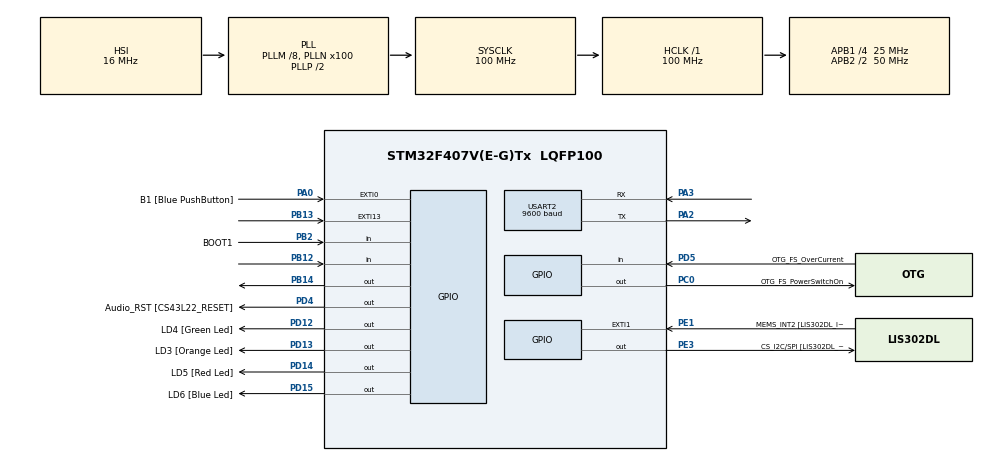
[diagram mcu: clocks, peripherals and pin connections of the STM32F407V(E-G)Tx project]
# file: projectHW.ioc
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Mcu.Family=STM32F4
Mcu.Name=STM32F407V(E-G)Tx
Mcu.Package=LQFP100
NVIC.EXTI15_10_IRQn=true\:0\:0\:false\:false\:true
NVIC.PriorityGroup=NVIC_PRIORITYGROUP_0
NVIC.TIM1_BRK_TIM9_IRQn=true\:0\:0\:false\:false\:true
PA0-WKUP.GPIO_Label=B1 [Blue PushButton]
PA0-WKUP.Signal=GPXTI0
PA10.GPIO_Label=OTG_FS_ID
PA10.GPIO_Mode=GPIO_MODE_AF_PP
PA10.GPIO_PuPd=GPIO_NOPULL
PA10.GPIO_Speed=GPIO_SPEED_FREQ_LOW
PA10.Signal=USB_OTG_FS_ID
PA11.GPIO_Label=OTG_FS_DM
PA11.GPIO_Mode=GPIO_MODE_AF_PP
PA11.GPIO_PuPd=GPIO_NOPULL
PA11.GPIO_Speed=GPIO_SPEED_FREQ_LOW
PA11.Signal=USB_OTG_FS_DM
PA12.GPIO_Label=OTG_FS_DP
PA12.GPIO_Mode=GPIO_MODE_AF_PP
PA12.GPIO_PuPd=GPIO_NOPULL
PA12.GPIO_Speed=GPIO_SPEED_FREQ_LOW
PA12.Signal=USB_OTG_FS_DP
PA13.GPIO_Label=SWDIO
PA13.Signal=SYS_JTMS-SWDIO
PA14.GPIO_Label=SWCLK
PA14.Signal=SYS_JTCK-SWCLK
PA2.Mode=Asynchronous
PA2.Signal=USART2_TX
PA3.Mode=Asynchronous
PA3.Signal=USART2_RX
PA4.GPIO_Label=I2S3_WS [CS43L22_LRCK]
PA4.GPIO_Mode=GPIO_MODE_AF_PP
PA4.GPIO_PuPd=GPIO_NOPULL
PA4.GPIO_Speed=GPIO_SPEED_FREQ_LOW
PA4.Signal=I2S3_WS
PA5.GPIO_Label=SPI1_SCK [LIS302DL_SCL/SPC]
PA5.GPIO_Mode=GPIO_MODE_AF_PP
PA5.GPIO_PuPd=GPIO_NOPULL
PA5.GPIO_Speed=GPIO_SPEED_FREQ_LOW
PA5.Signal=SPI1_SCK
PA6.GPIO_Label=SPI1_MISO [LIS302DL_SDO]
PA6.GPIO_Mode=GPIO_MODE_AF_PP
PA6.GPIO_PuPd=GPIO_NOPULL
PA6.GPIO_Speed=GPIO_SPEED_FREQ_LOW
PA6.Signal=SPI1_MISO
PA7.GPIO_Label=SPI1_MOSI [LIS302DL_SDA/SDI/SDO]
PA7.GPIO_Mode=GPIO_MODE_AF_PP
PA7.GPIO_PuPd=GPIO_NOPULL
PA7.GPIO_Speed=GPIO_SPEED_FREQ_LOW
PA7.Signal=SPI1_MOSI
PA9.GPIO_Label=VBUS_FS
PA9.GPIO_Mode=GPIO_MODE_INPUT
PA9.GPIO_PuPd=GPIO_NOPULL
PA9.Signal=USB_OTG_FS_VBUS
PB10.GPIO_Label=CLK_IN [MP45DT02_CLK]
PB10.GPIO_Mode=GPIO_MODE_AF_PP
PB10.GPIO_PuPd=GPIO_NOPULL
PB10.GPIO_Speed=GPIO_SPEED_FREQ_LOW
PB10.Signal=I2S2_CK
PB12.Signal=GPIO_Input
PB13.Signal=GPXTI13
PB14.Signal=GPIO_Output
PB2.GPIO_Label=BOOT1
PB2.GPIO_Mode=GPIO_MODE_INPUT
PB2.GPIO_PuPd=GPIO_NOPULL
PB2.Signal=GPIO_Input
PB3.GPIO_Label=SWO
PB3.Signal=SYS_JTDO-SWO
PB6.GPIO_Label=Audio_SCL [CS43L22_SCL]
PB6.GPIO_Mode=GPIO_MODE_AF_OD
PB6.GPIO_PuPd=GPIO_NOPULL
PB6.GPIO_Speed=GPIO_SPEED_FREQ_LOW
PB6.Signal=I2C1_SCL
PB9.GPIO_Label=Audio_SDA [CS43L22_SDA]
PB9.GPIO_Mode=GPIO_MODE_AF_OD
PB9.GPIO_PuPd=GPIO_NOPULL
PB9.GPIO_Speed=GPIO_SPEED_FREQ_LOW
PB9.Signal=I2C1_SDA
PC0.GPIO_Label=OTG_FS_PowerSwitchOn
PC0.GPIO_PuPd=GPIO_NOPULL
PC0.GPIO_Speed=GPIO_SPEED_FREQ_LOW
PC0.PinState=GPIO_PIN_SET
PC0.Signal=GPIO_Output
PC10.GPIO_Label=I2S3_SCK [CS43L22_SCLK]
PC10.GPIO_Mode=GPIO_MODE_AF_PP
PC10.GPIO_PuPd=GPIO_NOPULL
PC10.GPIO_Speed=GPIO_SPEED_FREQ_LOW
PC10.Signal=I2S3_CK
PC12.GPIO_Label=I2S3_SD [CS43L22_SDIN]
PC12.GPIO_Mode=GPIO_MODE_AF_PP
PC12.GPIO_PuPd=GPIO_NOPULL
PC12.GPIO_Speed=GPIO_SPEED_FREQ_LOW
PC12.Signal=I2S3_SD
PC14-OSC32_IN.GPIO_Label=PC14-OSC32_IN
PC14-OSC32_IN.Signal=RCC_OSC32_IN
PC15-OSC32_OUT.GPIO_Label=PC15-OSC32_OUT
PC15-OSC32_OUT.Signal=RCC_OSC32_OUT
PC3.GPIO_Label=PDM_OUT [MP45DT02_DOUT]
PC3.GPIO_Mode=GPIO_MODE_AF_PP
PC3.GPIO_PuPd=GPIO_NOPULL
PC3.GPIO_Speed=GPIO_SPEED_FREQ_LOW
PC3.Signal=I2S2_SD
PC7.GPIO_Label=I2S3_MCK [CS43L22_MCLK]
PC7.GPIO_Mode=GPIO_MODE_AF_PP
PC7.GPIO_PuPd=GPIO_NOPULL
PC7.GPIO_Speed=GPIO_SPEED_FREQ_LOW
PC7.Signal=I2S3_MCK
PD12.GPIO_Label=LD4 [Green Led]
PD12.GPIO_PuPd=GPIO_NOPULL
PD12.GPIO_Speed=GPIO_SPEED_FREQ_LOW
PD12.Signal=GPIO_Output
PD13.GPIO_Label=LD3 [Orange Led]
PD13.GPIO_PuPd=GPIO_NOPULL
PD13.GPIO_Speed=GPIO_SPEED_FREQ_LOW
PD13.Signal=GPIO_Output
PD14.GPIO_Label=LD5 [Red Led]
PD14.GPIO_PuPd=GPIO_NOPULL
PD14.GPIO_Speed=GPIO_SPEED_FREQ_LOW
PD14.Signal=GPIO_Output
PD15.GPIO_Label=LD6 [Blue Led]
PD15.GPIO_PuPd=GPIO_NOPULL
PD15.GPIO_Speed=GPIO_SPEED_FREQ_LOW
PD15.Signal=GPIO_Output
PD4.GPIO_Label=Audio_RST [CS43L22_RESET]
PD4.GPIO_PuPd=GPIO_NOPULL
PD4.GPIO_Speed=GPIO_SPEED_FREQ_LOW
PD4.Signal=GPIO_Output
PD5.GPIO_Label=OTG_FS_OverCurrent
PD5.GPIO_Mode=GPIO_MODE_INPUT
PD5.GPIO_PuPd=GPIO_NOPULL
PD5.Signal=GPIO_Input
PE1.GPIO_Label=MEMS_INT2 [LIS302DL_INT2]
PE1.GPIO_ModeDefaultEXTI=GPIO_MODE_EVT_RISING
PE1.GPIO_PuPd=GPIO_NOPULL
PE1.Signal=GPXTI1
PE3.GPIO_Label=CS_I2C/SPI [LIS302DL_CS_I2C/SPI]
PE3.GPIO_PuPd=GPIO_NOPULL
PE3.GPIO_Speed=GPIO_SPEED_FREQ_LOW
PE3.Signal=GPIO_Output
PH0-OSC_IN.GPIO_Label=PH0-OSC_IN
PH0-OSC_IN.Signal=RCC_OSC_IN
PH1-OSC_OUT.GPIO_Label=PH1-OSC_OUT
PH1-OSC_OUT.Signal=RCC_OSC_OUT
ProjectManager.HeapSize=0x200
ProjectManager.StackSize=0x400
ProjectManager.TargetToolchain=SW4STM32
RCC.48MHZClocksFreq_Value=28571428.57142857
RCC.AHBFreq_Value=100000000
RCC.APB1CLKDivider=RCC_HCLK_DIV4
RCC.APB1Freq_Value=25000000
RCC.APB1TimFreq_Value=50000000
RCC.APB2CLKDivider=RCC_HCLK_DIV2
RCC.APB2Freq_Value=50000000
RCC.APB2TimFreq_Value=100000000
RCC.CortexFreq_Value=100000000
RCC.HCLKFreq_Value=100000000
RCC.HSE_VALUE=8000000
RCC.HSI_VALUE=16000000
RCC.LSE_VALUE=32768
RCC.PLLM=8
RCC.PLLN=100
RCC.PLLQ=7
RCC.SYSCLKFreq_VALUE=100000000
RCC.SYSCLKSource=RCC_SYSCLKSOURCE_PLLCLK
RCC.VCOOutputFreq_Value=200000000
TIM9.Period=1
TIM9.Prescaler=0
USART2.BaudRate=9600
USART2.VirtualMode=VM_ASYNC
VP_TIM9_VS_ClockSourceINT.Mode=Internal
board=STM32F4DISCOVERY

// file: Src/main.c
/**
  ******************************************************************************
  * File Name          : main.c
  * Description        : Main program body
  ******************************************************************************
  ** This notice applies to any and all portions of this file
  * that are not between comment pairs USER CODE BEGIN and
  * USER CODE END. Other portions of this file, whether
  * inserted by the user or by software development tools
  * are owned by their respective copyright owners.
  *
  * COPYRIGHT(c) 2560 STMicroelectronics
  *
  * Redistribution and use in source and binary forms, with or without modification,
  * are permitted provided that the following conditions are met:
  *   1. Redistributions of source code must retain the above copyright notice,
  *      this list of conditions and the following disclaimer.
  *   2. Redistributions in binary form must reproduce the above copyright notice,
  *      this list of conditions and the following disclaimer in the documentation
  *      and/or other materials provided with the distribution.
  *   3. Neither the name of STMicroelectronics nor the names of its contributors
  *      may be used to endorse or promote products derived from this software
  *      without specific prior written permission.
  *
  * THIS SOFTWARE IS PROVIDED BY THE COPYRIGHT HOLDERS AND CONTRIBUTORS "AS IS"
  * AND ANY EXPRESS OR IMPLIED WARRANTIES, INCLUDING, BUT NOT LIMITED TO, THE
  * IMPLIED WARRANTIES OF MERCHANTABILITY AND FITNESS FOR A PARTICULAR PURPOSE ARE
  * DISCLAIMED. IN NO EVENT SHALL THE COPYRIGHT HOLDER OR CONTRIBUTORS BE LIABLE
  * FOR ANY DIRECT, INDIRECT, INCIDENTAL, SPECIAL, EXEMPLARY, OR CONSEQUENTIAL
  * DAMAGES (INCLUDING, BUT NOT LIMITED TO, PROCUREMENT OF SUBSTITUTE GOODS OR
  * SERVICES; LOSS OF USE, DATA, OR PROFITS; OR BUSINESS INTERRUPTION) HOWEVER
  * CAUSED AND ON ANY THEORY OF LIABILITY, WHETHER IN CONTRACT, STRICT LIABILITY,
  * OR TORT (INCLUDING NEGLIGENCE OR OTHERWISE) ARISING IN ANY WAY OUT OF THE USE
  * OF THIS SOFTWARE, EVEN IF ADVISED OF THE POSSIBILITY OF SUCH DAMAGE.
  *
  ******************************************************************************
  */
#include "main.h"
#include "stm32f4xx_hal.h"

TIM_HandleTypeDef htim9;

UART_HandleTypeDef huart2;

/* USER CODE BEGIN PV */
/* Private variables ---------------------------------------------------------*/
int isLightON;
/* USER CODE END PV */

void SystemClock_Config(void);
static void MX_GPIO_Init(void);
static void MX_USART2_UART_Init(void);
static void MX_TIM9_Init(void);

/* USER CODE BEGIN PFP */
/* Private function prototypes -----------------------------------------------*/

/* USER CODE END PFP */

/* USER CODE BEGIN 0 */
int push=0;
uint8_t duty;

int pwm=0;

void getDuty(){
	uint8_t buff;
	if(HAL_UART_Receive(&huart2,&buff,1,1000)==HAL_OK){
		if(buff<0||buff>100){
			HAL_GPIO_WritePin(GPIOD, GPIO_PIN_12,1); //error
		}
		else
			duty=buff;
	}
}

void getLightStat(){
	isLightON=HAL_GPIO_ReadPin(GPIOB,GPIO_PIN_12);
}

void updateMCU(){
	HAL_GPIO_WritePin(GPIOB,GPIO_PIN_14,isLightON);
}
void HAL_TIM_PeriodElapsedCallback(TIM_HandleTypeDef *htim){

	if(htim->Instance ==TIM9){
		if(isLightON==1){
			if(pwm<duty/2){
				HAL_GPIO_WritePin(GPIOD, GPIO_PIN_14,1);
			}
			else{
				HAL_GPIO_WritePin(GPIOD, GPIO_PIN_14,0);
			}
			pwm++;
			if(pwm>50) pwm=0;
		}
		else{
			HAL_GPIO_WritePin(GPIOD, GPIO_PIN_14,0);
		}

		if(HAL_GPIO_ReadPin(GPIOA,GPIO_PIN_0)){
			if(push==500){
				if(isLightON==1){
					isLightON=0;
				}
				else{
					isLightON=1;
				}
				updateMCU();
				push++;
			}
			else{
				push++;
			}
		}
		else{
			push=0;
		}

	/*
	 if(HAL_GPIO_ReadPin(GPIOB,GPIO_PIN_13)==1){
	  HAL_GPIO_WritePin(GPIOD, GPIO_PIN_15,1);
		getDuty();
		HAL_GPIO_WritePin(GPIOD, GPIO_PIN_15,0);
		}
	*/
	}

}

void HAL_GPIO_EXTI_Callback(uint16_t GPIO_Pin){
	if(HAL_GPIO_ReadPin(GPIOB,GPIO_PIN_13)==1){
		HAL_GPIO_WritePin(GPIOD, GPIO_PIN_15,1);
		getLightStat();
		getDuty();
		updateMCU();
		HAL_GPIO_WritePin(GPIOD, GPIO_PIN_15,0);
	}
}
/* USER CODE END 0 */

int main(void)
{

  /* MCU Configuration----------------------------------------------------------*/

  /* Reset of all peripherals, Initializes the Flash interface and the Systick. */
  HAL_Init();

  /* Configure the system clock */
  SystemClock_Config();

  /* Initialize all configured peripherals */
  MX_GPIO_Init();
  MX_USART2_UART_Init();
  MX_TIM9_Init();

  /* USER CODE BEGIN 2 */
  //getLightLevel();
  duty=100;
  isLightON=1;
  updateMCU();
  HAL_TIM_Base_Start_IT(&htim9);
  /* USER CODE END 2 */

  /* Infinite loop */
  while (1)
  {

  /* USER CODE BEGIN 3 */
	  //getLightStat();
	/*  if(HAL_GPIO_ReadPin(GPIOB,GPIO_PIN_13)==1){
		  HAL_GPIO_WritePin(GPIOD, GPIO_PIN_15,1);
			getDuty();
			HAL_GPIO_WritePin(GPIOD, GPIO_PIN_15,0);
	  }*/

  }
  /* USER CODE END 3 */

}

/** System Clock Configuration
*/
void SystemClock_Config(void)
{

  RCC_OscInitTypeDef RCC_OscInitStruct;
  RCC_ClkInitTypeDef RCC_ClkInitStruct;

    /**Configure the main internal regulator output voltage
    */
  __HAL_RCC_PWR_CLK_ENABLE();

  __HAL_PWR_VOLTAGESCALING_CONFIG(PWR_REGULATOR_VOLTAGE_SCALE1);

    /**Initializes the CPU, AHB and APB busses clocks
    */
  RCC_OscInitStruct.OscillatorType = RCC_OSCILLATORTYPE_HSI;
  RCC_OscInitStruct.HSIState = RCC_HSI_ON;
  RCC_OscInitStruct.HSICalibrationValue = 16;
  RCC_OscInitStruct.PLL.PLLState = RCC_PLL_ON;
  RCC_OscInitStruct.PLL.PLLSource = RCC_PLLSOURCE_HSI;
  RCC_OscInitStruct.PLL.PLLM = 8;
  RCC_OscInitStruct.PLL.PLLN = 100;
  RCC_OscInitStruct.PLL.PLLP = RCC_PLLP_DIV2;
  RCC_OscInitStruct.PLL.PLLQ = 7;
  if (HAL_RCC_OscConfig(&RCC_OscInitStruct) != HAL_OK)
  {
    _Error_Handler(__FILE__, __LINE__);
  }

    /**Initializes the CPU, AHB and APB busses clocks
    */
  RCC_ClkInitStruct.ClockType = RCC_CLOCKTYPE_HCLK|RCC_CLOCKTYPE_SYSCLK
                              |RCC_CLOCKTYPE_PCLK1|RCC_CLOCKTYPE_PCLK2;
  RCC_ClkInitStruct.SYSCLKSource = RCC_SYSCLKSOURCE_PLLCLK;
  RCC_ClkInitStruct.AHBCLKDivider = RCC_SYSCLK_DIV1;
  RCC_ClkInitStruct.APB1CLKDivider = RCC_HCLK_DIV4;
  RCC_ClkInitStruct.APB2CLKDivider = RCC_HCLK_DIV2;

  if (HAL_RCC_ClockConfig(&RCC_ClkInitStruct, FLASH_LATENCY_3) != HAL_OK)
  {
    _Error_Handler(__FILE__, __LINE__);
  }

    /**Configure the Systick interrupt time
    */
  HAL_SYSTICK_Config(HAL_RCC_GetHCLKFreq()/1000);

    /**Configure the Systick
    */
  HAL_SYSTICK_CLKSourceConfig(SYSTICK_CLKSOURCE_HCLK);

  /* SysTick_IRQn interrupt configuration */
  HAL_NVIC_SetPriority(SysTick_IRQn, 0, 0);
}

/* TIM9 init function */
static void MX_TIM9_Init(void)
{

  TIM_ClockConfigTypeDef sClockSourceConfig;

  htim9.Instance = TIM9;
  htim9.Init.Prescaler = 0;
  htim9.Init.CounterMode = TIM_COUNTERMODE_UP;
  htim9.Init.Period = 1;
  htim9.Init.ClockDivision = TIM_CLOCKDIVISION_DIV1;
  if (HAL_TIM_Base_Init(&htim9) != HAL_OK)
  {
    _Error_Handler(__FILE__, __LINE__);
  }

  sClockSourceConfig.ClockSource = TIM_CLOCKSOURCE_INTERNAL;
  if (HAL_TIM_ConfigClockSource(&htim9, &sClockSourceConfig) != HAL_OK)
  {
    _Error_Handler(__FILE__, __LINE__);
  }

}

/* USART2 init function */
static void MX_USART2_UART_Init(void)
{

  huart2.Instance = USART2;
  huart2.Init.BaudRate = 9600;
  huart2.Init.WordLength = UART_WORDLENGTH_8B;
  huart2.Init.StopBits = UART_STOPBITS_1;
  huart2.Init.Parity = UART_PARITY_NONE;
  huart2.Init.Mode = UART_MODE_TX_RX;
  huart2.Init.HwFlowCtl = UART_HWCONTROL_NONE;
  huart2.Init.OverSampling = UART_OVERSAMPLING_16;
  if (HAL_UART_Init(&huart2) != HAL_OK)
  {
    _Error_Handler(__FILE__, __LINE__);
  }

}

/** Configure pins as
        * Analog
        * Input
        * Output
        * EVENT_OUT
        * EXTI
     PC3   ------> I2S2_SD
     PA4   ------> I2S3_WS
     PA5   ------> SPI1_SCK
     PA6   ------> SPI1_MISO
     PA7   ------> SPI1_MOSI
     PB10   ------> I2S2_CK
     PC7   ------> I2S3_MCK
     PA9   ------> USB_OTG_FS_VBUS
     PA10   ------> USB_OTG_FS_ID
     PA11   ------> USB_OTG_FS_DM
     PA12   ------> USB_OTG_FS_DP
     PC10   ------> I2S3_CK
     PC12   ------> I2S3_SD
     PB6   ------> I2C1_SCL
     PB9   ------> I2C1_SDA
*/
static void MX_GPIO_Init(void)
{

  GPIO_InitTypeDef GPIO_InitStruct;

  /* GPIO Ports Clock Enable */
  __HAL_RCC_GPIOE_CLK_ENABLE();
  __HAL_RCC_GPIOC_CLK_ENABLE();
  __HAL_RCC_GPIOH_CLK_ENABLE();
  __HAL_RCC_GPIOA_CLK_ENABLE();
  __HAL_RCC_GPIOB_CLK_ENABLE();
  __HAL_RCC_GPIOD_CLK_ENABLE();

  /*Configure GPIO pin Output Level */
  HAL_GPIO_WritePin(CS_I2C_SPI_GPIO_Port, CS_I2C_SPI_Pin, GPIO_PIN_RESET);

  /*Configure GPIO pin Output Level */
  HAL_GPIO_WritePin(OTG_FS_PowerSwitchOn_GPIO_Port, OTG_FS_PowerSwitchOn_Pin, GPIO_PIN_SET);

  /*Configure GPIO pin Output Level */
  HAL_GPIO_WritePin(GPIOB, GPIO_PIN_14, GPIO_PIN_RESET);

  /*Configure GPIO pin Output Level */
  HAL_GPIO_WritePin(GPIOD, LD4_Pin|LD3_Pin|LD5_Pin|LD6_Pin
                          |Audio_RST_Pin, GPIO_PIN_RESET);

  /*Configure GPIO pin : CS_I2C_SPI_Pin */
  GPIO_InitStruct.Pin = CS_I2C_SPI_Pin;
  GPIO_InitStruct.Mode = GPIO_MODE_OUTPUT_PP;
  GPIO_InitStruct.Pull = GPIO_NOPULL;
  GPIO_InitStruct.Speed = GPIO_SPEED_FREQ_LOW;
  HAL_GPIO_Init(CS_I2C_SPI_GPIO_Port, &GPIO_InitStruct);

  /*Configure GPIO pin : OTG_FS_PowerSwitchOn_Pin */
  GPIO_InitStruct.Pin = OTG_FS_PowerSwitchOn_Pin;
  GPIO_InitStruct.Mode = GPIO_MODE_OUTPUT_PP;
  GPIO_InitStruct.Pull = GPIO_NOPULL;
  GPIO_InitStruct.Speed = GPIO_SPEED_FREQ_LOW;
  HAL_GPIO_Init(OTG_FS_PowerSwitchOn_GPIO_Port, &GPIO_InitStruct);

  /*Configure GPIO pin : PDM_OUT_Pin */
  GPIO_InitStruct.Pin = PDM_OUT_Pin;
  GPIO_InitStruct.Mode = GPIO_MODE_AF_PP;
  GPIO_InitStruct.Pull = GPIO_NOPULL;
  GPIO_InitStruct.Speed = GPIO_SPEED_FREQ_LOW;
  GPIO_InitStruct.Alternate = GPIO_AF5_SPI2;
  HAL_GPIO_Init(PDM_OUT_GPIO_Port, &GPIO_InitStruct);

  /*Configure GPIO pin : B1_Pin */
  GPIO_InitStruct.Pin = B1_Pin;
  GPIO_InitStruct.Mode = GPIO_MODE_IT_RISING;
  GPIO_InitStruct.Pull = GPIO_NOPULL;
  HAL_GPIO_Init(B1_GPIO_Port, &GPIO_InitStruct);

  /*Configure GPIO pin : I2S3_WS_Pin */
  GPIO_InitStruct.Pin = I2S3_WS_Pin;
  GPIO_InitStruct.Mode = GPIO_MODE_AF_PP;
  GPIO_InitStruct.Pull = GPIO_NOPULL;
  GPIO_InitStruct.Speed = GPIO_SPEED_FREQ_LOW;
  GPIO_InitStruct.Alternate = GPIO_AF6_SPI3;
  HAL_GPIO_Init(I2S3_WS_GPIO_Port, &GPIO_InitStruct);

  /*Configure GPIO pins : SPI1_SCK_Pin SPI1_MISO_Pin SPI1_MOSI_Pin */
  GPIO_InitStruct.Pin = SPI1_SCK_Pin|SPI1_MISO_Pin|SPI1_MOSI_Pin;
  GPIO_InitStruct.Mode = GPIO_MODE_AF_PP;
  GPIO_InitStruct.Pull = GPIO_NOPULL;
  GPIO_InitStruct.Speed = GPIO_SPEED_FREQ_LOW;
  GPIO_InitStruct.Alternate = GPIO_AF5_SPI1;
  HAL_GPIO_Init(GPIOA, &GPIO_InitStruct);

  /*Configure GPIO pins : BOOT1_Pin PB12 */
  GPIO_InitStruct.Pin = BOOT1_Pin|GPIO_PIN_12;
  GPIO_InitStruct.Mode = GPIO_MODE_INPUT;
  GPIO_InitStruct.Pull = GPIO_NOPULL;
  HAL_GPIO_Init(GPIOB, &GPIO_InitStruct);

  /*Configure GPIO pin : CLK_IN_Pin */
  GPIO_InitStruct.Pin = CLK_IN_Pin;
  GPIO_InitStruct.Mode = GPIO_MODE_AF_PP;
  GPIO_InitStruct.Pull = GPIO_NOPULL;
  GPIO_InitStruct.Speed = GPIO_SPEED_FREQ_LOW;
  GPIO_InitStruct.Alternate = GPIO_AF5_SPI2;
  HAL_GPIO_Init(CLK_IN_GPIO_Port, &GPIO_InitStruct);

  /*Configure GPIO pin : PB13 */
  GPIO_InitStruct.Pin = GPIO_PIN_13;
  GPIO_InitStruct.Mode = GPIO_MODE_IT_RISING;
  GPIO_InitStruct.Pull = GPIO_NOPULL;
  HAL_GPIO_Init(GPIOB, &GPIO_InitStruct);

  /*Configure GPIO pin : PB14 */
  GPIO_InitStruct.Pin = GPIO_PIN_14;
  GPIO_InitStruct.Mode = GPIO_MODE_OUTPUT_PP;
  GPIO_InitStruct.Pull = GPIO_NOPULL;
  GPIO_InitStruct.Speed = GPIO_SPEED_FREQ_LOW;
  HAL_GPIO_Init(GPIOB, &GPIO_InitStruct);

  /*Configure GPIO pins : LD4_Pin LD3_Pin LD5_Pin LD6_Pin
                           Audio_RST_Pin */
  GPIO_InitStruct.Pin = LD4_Pin|LD3_Pin|LD5_Pin|LD6_Pin
                          |Audio_RST_Pin;
  GPIO_InitStruct.Mode = GPIO_MODE_OUTPUT_PP;
  GPIO_InitStruct.Pull = GPIO_NOPULL;
  GPIO_InitStruct.Speed = GPIO_SPEED_FREQ_LOW;
  HAL_GPIO_Init(GPIOD, &GPIO_InitStruct);

  /*Configure GPIO pins : I2S3_MCK_Pin I2S3_SCK_Pin I2S3_SD_Pin */
  GPIO_InitStruct.Pin = I2S3_MCK_Pin|I2S3_SCK_Pin|I2S3_SD_Pin;
  GPIO_InitStruct.Mode = GPIO_MODE_AF_PP;
  GPIO_InitStruct.Pull = GPIO_NOPULL;
  GPIO_InitStruct.Speed = GPIO_SPEED_FREQ_LOW;
  GPIO_InitStruct.Alternate = GPIO_AF6_SPI3;
  HAL_GPIO_Init(GPIOC, &GPIO_InitStruct);

  /*Configure GPIO pin : VBUS_FS_Pin */
  GPIO_InitStruct.Pin = VBUS_FS_Pin;
  GPIO_InitStruct.Mode = GPIO_MODE_INPUT;
  GPIO_InitStruct.Pull = GPIO_NOPULL;
  HAL_GPIO_Init(VBUS_FS_GPIO_Port, &GPIO_InitStruct);

  /*Configure GPIO pins : OTG_FS_ID_Pin OTG_FS_DM_Pin OTG_FS_DP_Pin */
  GPIO_InitStruct.Pin = OTG_FS_ID_Pin|OTG_FS_DM_Pin|OTG_FS_DP_Pin;
  GPIO_InitStruct.Mode = GPIO_MODE_AF_PP;
  GPIO_InitStruct.Pull = GPIO_NOPULL;
  GPIO_InitStruct.Speed = GPIO_SPEED_FREQ_LOW;
  GPIO_InitStruct.Alternate = GPIO_AF10_OTG_FS;
  HAL_GPIO_Init(GPIOA, &GPIO_InitStruct);

  /*Configure GPIO pin : OTG_FS_OverCurrent_Pin */
  GPIO_InitStruct.Pin = OTG_FS_OverCurrent_Pin;
  GPIO_InitStruct.Mode = GPIO_MODE_INPUT;
  GPIO_InitStruct.Pull = GPIO_NOPULL;
  HAL_GPIO_Init(OTG_FS_OverCurrent_GPIO_Port, &GPIO_InitStruct);

  /*Configure GPIO pins : Audio_SCL_Pin Audio_SDA_Pin */
  GPIO_InitStruct.Pin = Audio_SCL_Pin|Audio_SDA_Pin;
  GPIO_InitStruct.Mode = GPIO_MODE_AF_OD;
  GPIO_InitStruct.Pull = GPIO_PULLUP;
  GPIO_InitStruct.Speed = GPIO_SPEED_FREQ_LOW;
  GPIO_InitStruct.Alternate = GPIO_AF4_I2C1;
  HAL_GPIO_Init(GPIOB, &GPIO_InitStruct);

  /*Configure GPIO pin : MEMS_INT2_Pin */
  GPIO_InitStruct.Pin = MEMS_INT2_Pin;
  GPIO_InitStruct.Mode = GPIO_MODE_EVT_RISING;
  GPIO_InitStruct.Pull = GPIO_NOPULL;
  HAL_GPIO_Init(MEMS_INT2_GPIO_Port, &GPIO_InitStruct);

  /* EXTI interrupt init*/
  HAL_NVIC_SetPriority(EXTI15_10_IRQn, 0, 0);
  HAL_NVIC_EnableIRQ(EXTI15_10_IRQn);

}

void _Error_Handler(char * file, int line)
{
  while(1)
  {
  }
}

/************************ (C) COPYRIGHT STMicroelectronics *****END OF FILE****/
